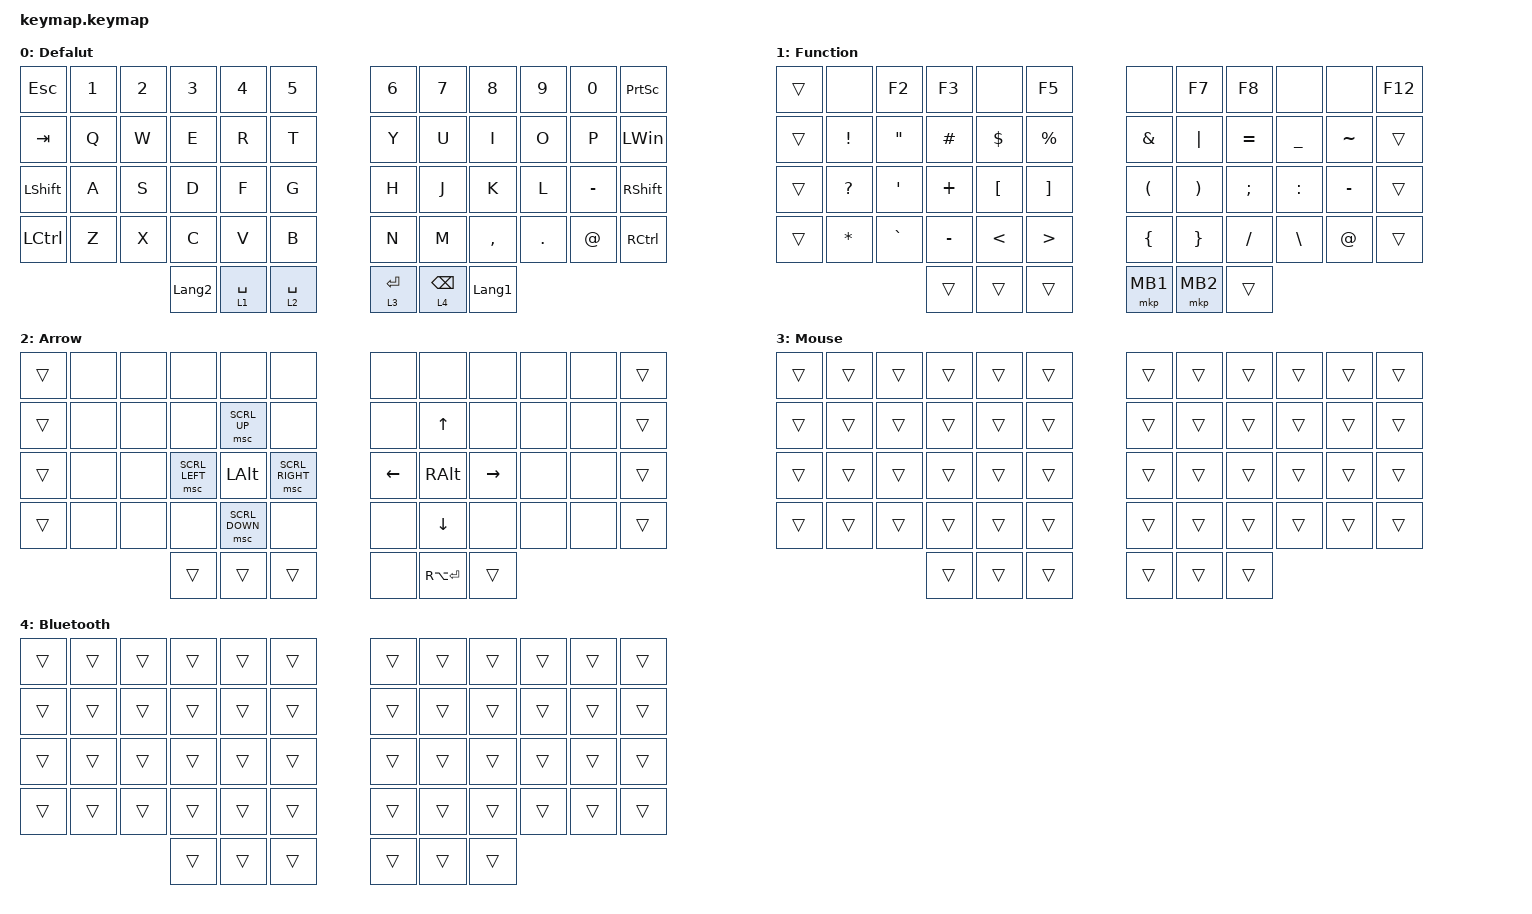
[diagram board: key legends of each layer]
#include <behaviors.dtsi>
#include <dt-bindings/zmk/keys.h>
#include <dt-bindings/zmk/pointing.h>

/ {
    keymap {
        compatible = "zmk,keymap";

        layer_0 {
            bindings = <
&kp ESCAPE      &kp NUMBER_1  &kp NUMBER_2  &kp NUMBER_3  &kp NUMBER_4  &kp NUMBER_5  &kp NUMBER_6  &kp NUMBER_7     &kp N8     &kp NUMBER_9  &kp NUMBER_0  &kp PRINTSCREEN
&kp TAB         &kp Q         &kp W         &kp E         &kp R         &kp T         &kp Y         &kp U            &kp I      &kp O         &kp P         &kp LEFT_WIN
&kp LEFT_SHIFT  &kp A         &kp S         &kp D         &kp F         &kp G         &kp H         &kp J            &kp K      &kp L         &kp MINUS     &kp RIGHT_SHIFT
&kp LCTRL       &kp Z         &kp X         &kp C         &kp V         &kp B         &kp N         &kp M            &kp COMMA  &kp PERIOD    &kp AT        &kp RCTRL
&kp LANGUAGE_2                                            &lt 1 SPACE   &lt 2 SPACE   &lt 3 RETURN  &lt 4 BACKSPACE                                         &kp LANGUAGE_1
            >;

            label = "Defalut";
        };

        layer_1 {
            bindings = <
&trans  &none            &kp F2             &kp F3     &none             &kp F5             &none                 &kp F7                 &kp F8         &none           &none        &kp F12
&trans  &kp EXCLAMATION  &kp DOUBLE_QUOTES  &kp HASH   &kp DOLLAR        &kp PERCENT        &kp AMPERSAND         &kp PIPE               &kp EQUAL      &kp UNDERSCORE  &kp TILDE    &trans
&trans  &kp QUESTION     &kp SQT            &kp PLUS   &kp LEFT_BRACKET  &kp RIGHT_BRACKET  &kp LEFT_PARENTHESIS  &kp RIGHT_PARENTHESIS  &kp SEMICOLON  &kp COLON       &kp MINUS    &trans
&trans  &kp ASTERISK     &kp GRAVE          &kp MINUS  &kp LESS_THAN     &kp GREATER_THAN   &kp LEFT_BRACE        &kp RIGHT_BRACE        &kp SLASH      &kp BACKSLASH   &kp AT_SIGN  &trans
&trans                                                 &trans            &trans             &mkp MB1              &mkp MB2                                                           &trans
            >;

            label = "Function";
        };

        layer_2 {
            bindings = <
&trans  &none  &none  &none           &none           &none            &none     &none           &none      &none  &none  &trans
&trans  &none  &none  &none           &msc SCRL_UP    &none            &none     &kp UP_ARROW    &none      &none  &none  &trans
&trans  &none  &none  &msc SCRL_LEFT  &kp LEFT_ALT    &msc SCRL_RIGHT  &kp LEFT  &kp RIGHT_ALT   &kp RIGHT  &none  &none  &trans
&trans  &none  &none  &none           &msc SCRL_DOWN  &none            &none     &kp DOWN_ARROW  &none      &none  &none  &trans
&trans                                &trans          &trans           &none     &kp RA(ENTER)                            &trans
            >;

            label = "Arrow";
        };

        layer_3 {
            bindings = <
&trans  &trans  &trans  &trans  &trans  &trans  &trans  &trans  &trans  &trans  &trans  &trans
&trans  &trans  &trans  &trans  &trans  &trans  &trans  &trans  &trans  &trans  &trans  &trans
&trans  &trans  &trans  &trans  &trans  &trans  &trans  &trans  &trans  &trans  &trans  &trans
&trans  &trans  &trans  &trans  &trans  &trans  &trans  &trans  &trans  &trans  &trans  &trans
&trans                          &trans  &trans  &trans  &trans                          &trans
            >;

            label = "Mouse";
        };

        layer_4 {
            bindings = <
&trans  &trans  &trans  &trans  &trans  &trans  &trans  &trans  &trans  &trans  &trans  &trans
&trans  &trans  &trans  &trans  &trans  &trans  &trans  &trans  &trans  &trans  &trans  &trans
&trans  &trans  &trans  &trans  &trans  &trans  &trans  &trans  &trans  &trans  &trans  &trans
&trans  &trans  &trans  &trans  &trans  &trans  &trans  &trans  &trans  &trans  &trans  &trans
&trans                          &trans  &trans  &trans  &trans                          &trans
            >;

            label = "Bluetooth";
        };
    };
};
